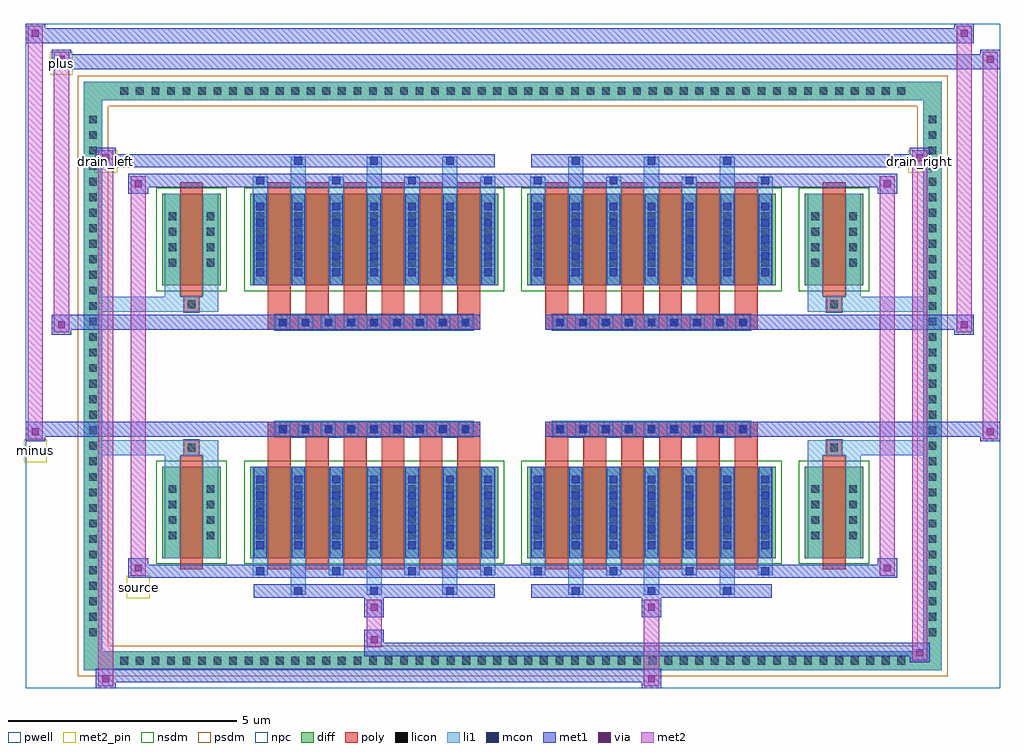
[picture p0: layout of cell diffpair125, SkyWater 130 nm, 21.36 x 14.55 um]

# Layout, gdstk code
import gdstk
lib = gdstk.Library(unit=1e-6, precision=5e-09)
def R(c, l, rs):  # rectangles x0, y0, x1, y1
    for r in rs: c.add(gdstk.rectangle(r[:2], r[2:], *l))
def A(c, l, x, y, w, h, nx, ny, dx, dy):  # array of equal rectangles
    R(c, l, [(x+i*dx, y+j*dy, x+i*dx+w, y+j*dy+h) for i in range(nx) for j in range(ny)])
def P(c, l, *ps):  # polygons
    for p in ps: c.add(gdstk.Polygon(p, *l))
pwell = (64, 44)
diff = (65, 20)
poly = (66, 20)
licon = (66, 44)
li1 = (67, 20)
mcon = (67, 44)
met1 = (68, 20)
via = (68, 44)
met2_pin = (69, 16)
met2 = (69, 20)
nsdm = (93, 44)
psdm = (94, 20)
npc = (95, 20)

diffpair125 = lib.new_cell('diffpair125')
R(diffpair125, pwell, [(-10.66,-6.84,10.66,7.71), (-7.98,-5.03,-0.01,-0.805), (0.01,-5.03,7.98,-0.805), (-7.98,0.805,-0.01,5.03), (0.01,0.805,7.98,5.03)])
A(diffpair125, diff, -8.705, -6.44, 0.41, 0.41, 51, 2, 0.34, 12.47)
A(diffpair125, diff, -9.39, -5.815, 0.41, 0.41, 1, 34, 0, 0.34)
A(diffpair125, diff, 8.98, -5.815, 0.41, 0.41, 1, 34, 0, 0.34)
R(diffpair125, diff, [(-8.705,-6.44,8.705,-6.03), (-9.39,-5.815,-8.98,5.815), (8.98,-5.815,9.39,5.815), (-7.67,-3.985,-6.39,-1.985), (-5.75,-3.985,-0.32,-1.985), (0.32,-3.985,5.75,-1.985), (6.39,-3.985,7.67,-1.985), (-7.67,1.985,-6.39,3.985), (-5.75,1.985,-0.32,3.985), (0.32,1.985,5.75,3.985), (6.39,1.985,7.67,3.985), (-8.705,6.03,8.705,6.44)])
P(diffpair125, diff, [(9.39,6.44),(-9.39,6.44),(-9.39,-6.03),(-8.98,-6.03),(-8.98,6.03),(8.98,6.03),(8.98,-6.03),(-8.98,-6.03),(-9.39,-6.03),(-9.39,-6.44),(9.39,-6.44)])
A(diffpair125, poly, -5.36, -4.235, 0.5, 2.5, 6, 2, 0.83, 5.97)
A(diffpair125, poly, 0.71, -4.235, 0.5, 2.5, 6, 2, 0.83, 5.97)
A(diffpair125, poly, -5.36, -1.735, 0.5, 0.4, 6, 2, 0.83, 3.07)
A(diffpair125, poly, 0.71, -1.735, 0.5, 0.4, 6, 2, 0.83, 3.07)
A(diffpair125, poly, -5.2, -1.335, 0.33, 0.33, 9, 2, 0.5, 2.34)
A(diffpair125, poly, 0.87, -1.335, 0.33, 0.33, 9, 2, 0.5, 2.34)
R(diffpair125, poly, [(-7.28,-4.235,-6.78,-1.735), (6.78,-4.235,7.28,-1.735), (-7.195,-1.735,-6.865,-1.405), (-7.195,-1.735,-6.865,-1.405), (6.865,-1.735,7.195,-1.405), (6.865,-1.735,7.195,-1.405), (-5.36,-1.335,-0.71,-1.005), (0.71,-1.335,5.36,-1.005), (-5.36,1.005,-0.71,1.335), (0.71,1.005,5.36,1.335), (-7.195,1.405,-6.865,1.735), (-7.195,1.405,-6.865,1.735), (6.865,1.405,7.195,1.735), (6.865,1.405,7.195,1.735), (-7.28,1.735,-6.78,4.235), (6.78,1.735,7.28,4.235)])
A(diffpair125, licon, -8.585, -6.32, 0.17, 0.17, 51, 2, 0.34, 12.47)
A(diffpair125, licon, -9.27, -5.695, 0.17, 0.17, 1, 34, 0, 0.34)
A(diffpair125, licon, 9.1, -5.695, 0.17, 0.17, 1, 34, 0, 0.34)
A(diffpair125, licon, -7.53, -3.58, 0.17, 0.17, 1, 4, 0, 0.34)
A(diffpair125, licon, -6.7, -3.58, 0.17, 0.17, 1, 4, 0, 0.34)
A(diffpair125, licon, -5.61, -3.58, 0.17, 0.17, 7, 4, 0.83, 0.34)
A(diffpair125, licon, 0.46, -3.58, 0.17, 0.17, 7, 4, 0.83, 0.34)
A(diffpair125, licon, 6.53, -3.58, 0.17, 0.17, 1, 4, 0, 0.34)
A(diffpair125, licon, 7.36, -3.58, 0.17, 0.17, 1, 4, 0, 0.34)
A(diffpair125, licon, -5.12, -1.255, 0.17, 0.17, 9, 2, 0.5, 2.34)
A(diffpair125, licon, 0.95, -1.255, 0.17, 0.17, 9, 2, 0.5, 2.34)
A(diffpair125, licon, -7.53, 2.39, 0.17, 0.17, 1, 4, 0, 0.34)
A(diffpair125, licon, -6.7, 2.39, 0.17, 0.17, 1, 4, 0, 0.34)
A(diffpair125, licon, -5.61, 2.39, 0.17, 0.17, 7, 4, 0.83, 0.34)
A(diffpair125, licon, 0.46, 2.39, 0.17, 0.17, 7, 4, 0.83, 0.34)
A(diffpair125, licon, 6.53, 2.39, 0.17, 0.17, 1, 4, 0, 0.34)
A(diffpair125, licon, 7.36, 2.39, 0.17, 0.17, 1, 4, 0, 0.34)
R(diffpair125, licon, [(-7.115,-1.655,-6.945,-1.485), (6.945,-1.655,7.115,-1.485), (-7.115,1.485,-6.945,1.655), (6.945,1.485,7.115,1.655)])
A(diffpair125, li1, -8.665, -6.4, 0.33, 0.33, 51, 2, 0.34, 12.47)
A(diffpair125, li1, -9.35, -5.775, 0.33, 0.33, 1, 34, 0, 0.34)
A(diffpair125, li1, 9.02, -5.775, 0.33, 0.33, 1, 34, 0, 0.34)
A(diffpair125, li1, -4.86, -4.79, 0.33, 0.805, 3, 2, 1.66, 8.775)
A(diffpair125, li1, -4.78, -4.79, 0.17, 0.17, 3, 2, 1.66, 9.41)
A(diffpair125, li1, 1.21, -4.79, 0.33, 0.805, 3, 2, 1.66, 8.775)
A(diffpair125, li1, 1.29, -4.79, 0.17, 0.17, 3, 2, 1.66, 9.41)
A(diffpair125, li1, -5.69, -4.36, 0.33, 0.375, 4, 2, 1.66, 8.345)
A(diffpair125, li1, -5.61, -4.36, 0.17, 0.17, 4, 2, 1.66, 8.55)
A(diffpair125, li1, 0.38, -4.36, 0.33, 0.375, 4, 2, 1.66, 8.345)
A(diffpair125, li1, 0.46, -4.36, 0.17, 0.17, 4, 2, 1.66, 8.55)
A(diffpair125, li1, -5.69, -3.985, 0.33, 2, 7, 2, 0.83, 5.97)
A(diffpair125, li1, 0.38, -3.985, 0.33, 2, 7, 2, 0.83, 5.97)
A(diffpair125, li1, -5.61, -3.79, 0.17, 0.17, 7, 5, 0.83, 0.36)
A(diffpair125, li1, -5.61, -3.79, 0.17, 1.61, 7, 2, 0.83, 5.97)
A(diffpair125, li1, 0.46, -3.79, 0.17, 0.17, 7, 5, 0.83, 0.36)
A(diffpair125, li1, 0.46, -3.79, 0.17, 1.61, 7, 2, 0.83, 5.97)
A(diffpair125, li1, -7.61, -3.66, 0.33, 0.33, 1, 4, 0, 0.34)
A(diffpair125, li1, -6.78, -3.66, 0.33, 0.33, 1, 4, 0, 0.34)
A(diffpair125, li1, -5.69, -3.66, 0.33, 0.33, 7, 4, 0.83, 0.34)
A(diffpair125, li1, 0.38, -3.66, 0.33, 0.33, 7, 4, 0.83, 0.34)
A(diffpair125, li1, 6.45, -3.66, 0.33, 0.33, 1, 4, 0, 0.34)
A(diffpair125, li1, 7.28, -3.66, 0.33, 0.33, 1, 4, 0, 0.34)
A(diffpair125, li1, -5.2, -1.335, 0.33, 0.33, 9, 2, 0.5, 2.34)
A(diffpair125, li1, 0.87, -1.335, 0.33, 0.33, 9, 2, 0.5, 2.34)
A(diffpair125, li1, -5.61, 2.18, 0.17, 0.17, 7, 5, 0.83, 0.36)
A(diffpair125, li1, 0.46, 2.18, 0.17, 0.17, 7, 5, 0.83, 0.36)
A(diffpair125, li1, -7.61, 2.31, 0.33, 0.33, 1, 4, 0, 0.34)
A(diffpair125, li1, -6.78, 2.31, 0.33, 0.33, 1, 4, 0, 0.34)
A(diffpair125, li1, -5.69, 2.31, 0.33, 0.33, 7, 4, 0.83, 0.34)
A(diffpair125, li1, 0.38, 2.31, 0.33, 0.33, 7, 4, 0.83, 0.34)
A(diffpair125, li1, 6.45, 2.31, 0.33, 0.33, 1, 4, 0, 0.34)
A(diffpair125, li1, 7.28, 2.31, 0.33, 0.33, 1, 4, 0, 0.34)
R(diffpair125, li1, [(-9.39,-6.44,-8.98,-6.03), (-9.39,-6.44,-8.98,-6.03), (-8.98,-6.44,8.98,-6.03), (8.98,-6.44,9.39,-6.03), (8.98,-6.44,9.39,-6.03), (-9.39,-6.03,-8.98,6.03), (8.98,-6.03,9.39,6.03), (-7.61,-3.985,-7.28,-1.985), (-6.78,-3.985,-6.45,-1.985), (6.45,-3.985,6.78,-1.985), (7.28,-3.985,7.61,-1.985), (-7.61,-1.985,-7.28,-1.405), (-6.78,-1.985,-6.45,-1.405), (6.45,-1.985,6.78,-1.405), (7.28,-1.985,7.61,-1.405), (-9.39,-1.735,-7.195,-1.405), (-7.61,-1.735,-7.195,-1.405), (-7.195,-1.735,-6.865,-1.405), (-6.865,-1.735,-6.45,-1.405), (6.45,-1.735,6.865,-1.405), (6.865,-1.735,7.195,-1.405), (6.865,-1.735,9.39,-1.405), (7.195,-1.735,7.61,-1.405), (-9.39,1.405,-7.195,1.735), (-7.61,1.405,-7.195,1.735), (-7.61,1.405,-7.28,1.985), (-7.195,1.405,-6.865,1.735), (-6.865,1.405,-6.45,1.735), (-6.78,1.405,-6.45,1.985), (6.45,1.405,6.865,1.735), (6.45,1.405,6.78,1.985), (6.865,1.405,7.195,1.735), (6.865,1.405,9.39,1.735), (7.195,1.405,7.61,1.735), (7.28,1.405,7.61,1.985), (-7.61,1.985,-7.28,3.985), (-6.78,1.985,-6.45,3.985), (6.45,1.985,6.78,3.985), (7.28,1.985,7.61,3.985), (-9.39,6.03,-8.98,6.44), (-9.39,6.03,-8.98,6.44), (-8.98,6.03,8.98,6.44), (8.98,6.03,9.39,6.44), (8.98,6.03,9.39,6.44)])
A(diffpair125, mcon, -4.78, -4.79, 0.17, 0.17, 3, 2, 1.66, 9.41)
A(diffpair125, mcon, 1.29, -4.79, 0.17, 0.17, 3, 2, 1.66, 9.41)
A(diffpair125, mcon, -5.61, -4.36, 0.17, 0.17, 4, 2, 1.66, 8.55)
A(diffpair125, mcon, 0.46, -4.36, 0.17, 0.17, 4, 2, 1.66, 8.55)
A(diffpair125, mcon, -5.61, -3.79, 0.17, 0.17, 7, 5, 0.83, 0.36)
A(diffpair125, mcon, 0.46, -3.79, 0.17, 0.17, 7, 5, 0.83, 0.36)
A(diffpair125, mcon, -5.12, -1.255, 0.17, 0.17, 9, 2, 0.5, 2.34)
A(diffpair125, mcon, 0.95, -1.255, 0.17, 0.17, 9, 2, 0.5, 2.34)
A(diffpair125, mcon, -5.61, 2.18, 0.17, 0.17, 7, 5, 0.83, 0.36)
A(diffpair125, mcon, 0.46, 2.18, 0.17, 0.17, 7, 5, 0.83, 0.36)
A(diffpair125, met1, -4.84, -4.85, 0.29, 0.29, 3, 2, 1.66, 9.41)
A(diffpair125, met1, 1.23, -4.85, 0.29, 0.29, 3, 2, 1.66, 9.41)
A(diffpair125, met1, -5.67, -4.42, 0.29, 0.29, 4, 2, 1.66, 8.55)
A(diffpair125, met1, 0.4, -4.42, 0.29, 0.29, 4, 2, 1.66, 8.55)
A(diffpair125, met1, -5.67, -3.985, 0.29, 2, 7, 2, 0.83, 5.97)
A(diffpair125, met1, 0.4, -3.985, 0.29, 2, 7, 2, 0.83, 5.97)
A(diffpair125, met1, -5.67, -3.85, 0.29, 0.29, 7, 5, 0.83, 0.36)
A(diffpair125, met1, 0.4, -3.85, 0.29, 0.29, 7, 5, 0.83, 0.36)
A(diffpair125, met1, -5.18, -1.315, 0.29, 0.29, 9, 2, 0.5, 2.34)
A(diffpair125, met1, 0.89, -1.315, 0.29, 0.29, 9, 2, 0.5, 2.34)
A(diffpair125, met1, -5.67, 2.12, 0.29, 0.29, 7, 5, 0.83, 0.36)
A(diffpair125, met1, 0.4, 2.12, 0.29, 0.29, 7, 5, 0.83, 0.36)
R(diffpair125, met1, [(-9.12,-6.84,-8.69,-6.41), (2.82,-6.84,3.25,-6.41), (-9.12,-6.7,3.25,-6.41), (8.69,-6.27,9.12,-5.84), (-3.25,-6.13,9.12,-5.84), (-3.25,-5.99,-2.82,-5.56), (-3.25,-5.28,-2.82,-4.85), (2.82,-5.28,3.25,-4.85), (-5.67,-4.85,-0.4,-4.56), (0.4,-4.85,5.67,-4.56), (-8.41,-4.42,-7.98,-3.99), (-8.41,-4.42,-5.67,-4.13), (-5.67,-4.42,-0.4,-4.13), (-0.4,-4.42,0.4,-4.13), (0.4,-4.42,5.67,-4.13), (5.67,-4.42,8.41,-4.13), (7.98,-4.42,8.41,-3.99), (-10.66,-1.435,-10.23,-1.005), (10.23,-1.435,10.66,-1.005), (-10.66,-1.335,-0.71,-1.005), (-5.36,-1.335,-0.71,-1.005), (0.71,-1.335,5.36,-1.005), (0.71,-1.335,10.66,-1.005), (-10.09,0.905,-9.66,1.335), (9.66,0.905,10.09,1.335), (-10.09,1.005,-5.36,1.335), (-5.36,1.005,-0.71,1.335), (0.71,1.005,5.36,1.335), (5.36,1.005,10.09,1.335), (-8.41,3.99,-7.98,4.42), (7.98,3.99,8.41,4.42), (-8.41,4.13,-5.67,4.42), (-5.67,4.13,-0.4,4.42), (-0.4,4.13,0.4,4.42), (0.4,4.13,5.67,4.42), (5.67,4.13,8.41,4.42), (-9.12,4.56,-8.69,4.99), (-9.12,4.56,-5.67,4.85), (-5.67,4.56,-0.4,4.85), (0.4,4.56,5.67,4.85), (5.67,4.56,9.12,4.85), (8.69,4.56,9.12,4.99), (-10.09,6.71,-9.66,7.14), (-10.09,6.71,-7.98,7.04), (-7.98,6.71,7.98,7.04), (7.98,6.71,10.66,7.04), (10.23,6.71,10.66,7.14), (-10.66,7.28,-10.23,7.71), (-10.66,7.28,-7.98,7.61), (-7.98,7.28,7.98,7.61), (7.98,7.28,10.09,7.61), (9.66,7.28,10.09,7.71)])
R(diffpair125, via, [(-8.98,-6.7,-8.83,-6.55), (2.96,-6.7,3.11,-6.55), (8.83,-6.13,8.98,-5.98), (-3.11,-5.85,-2.96,-5.7), (-3.11,-5.14,-2.96,-4.99), (2.96,-5.14,3.11,-4.99), (-8.27,-4.28,-8.12,-4.13), (8.12,-4.28,8.27,-4.13), (-10.52,-1.295,-10.37,-1.145), (10.37,-1.295,10.52,-1.145), (-9.95,1.045,-9.8,1.195), (9.8,1.045,9.95,1.195), (-8.27,4.13,-8.12,4.28), (8.12,4.13,8.27,4.28), (-8.98,4.7,-8.83,4.85), (8.83,4.7,8.98,4.85), (-9.95,6.85,-9.8,7), (10.37,6.85,10.52,7), (-10.52,7.42,-10.37,7.57), (9.8,7.42,9.95,7.57)])
R(diffpair125, met2_pin, [(-8.445,-4.87,-7.945,-4.37), (-10.695,-1.885,-10.195,-1.385), (-9.155,4.44,-8.655,4.94), (8.655,4.44,9.155,4.94), (-10.125,6.59,-9.625,7.09)])
R(diffpair125, met2, [(-9.07,-6.79,-8.74,-6.46), (-9.07,-6.79,-8.74,4.94), (2.87,-6.79,3.2,-6.46), (2.87,-6.46,3.2,-5.23), (8.74,-6.22,9.07,-5.89), (8.74,-6.22,9.07,4.94), (-3.2,-5.94,-2.87,-5.61), (-3.2,-5.61,-2.87,-5.23), (-3.2,-5.23,-2.87,-4.9), (2.87,-5.23,3.2,-4.9), (-8.36,-4.37,-8.03,-4.04), (-8.36,-4.37,-8.03,4.37), (8.03,-4.37,8.36,-4.04), (8.03,-4.37,8.36,4.37), (-10.61,-1.385,-10.28,-1.055), (-10.61,-1.385,-10.28,7.66), (10.28,-1.385,10.61,-1.055), (10.28,-1.385,10.61,7.09), (-10.04,0.955,-9.71,1.285), (-10.04,0.955,-9.71,7.09), (9.71,0.955,10.04,1.285), (9.71,0.955,10.04,7.66), (-8.36,4.04,-8.03,4.37), (8.03,4.04,8.36,4.37), (-9.07,4.61,-8.74,4.94), (8.74,4.61,9.07,4.94), (-10.04,6.76,-9.71,7.09), (10.28,6.76,10.61,7.09), (-10.61,7.33,-10.28,7.66), (9.71,7.33,10.04,7.66)])
P(diffpair125, met2, [(10.61,-1.385),(10.61,-1.385),(10.61,-1.055),(10.61,-1.055)],
  [(10.61,6.76),(10.61,6.76),(10.61,7.09),(10.61,7.09)],
  [(-10.28,-1.385),(-10.28,-1.385),(-10.28,-1.055),(-10.28,-1.055)],
  [(-10.28,7.33),(-10.28,7.33),(-10.28,7.66),(-10.28,7.66)],
  [(10.04,0.955),(10.04,0.955),(10.04,1.285),(10.04,1.285)],
  [(10.04,7.33),(10.04,7.33),(10.04,7.66),(10.04,7.66)],
  [(-9.71,0.955),(-9.71,0.955),(-9.71,1.285),(-9.71,1.285)],
  [(-9.71,6.76),(-9.71,6.76),(-9.71,7.09),(-9.71,7.09)],
  [(-8.74,-6.79),(-8.74,-6.79),(-8.74,-6.46),(-8.74,-6.46)],
  [(-8.74,4.61),(-8.74,4.61),(-8.74,4.94),(-8.74,4.94)],
  [(9.07,-6.22),(9.07,-6.22),(9.07,-5.89),(9.07,-5.89)],
  [(9.07,4.61),(9.07,4.61),(9.07,4.94),(9.07,4.94)],
  [(-8.03,-4.37),(-8.03,-4.37),(-8.03,-4.04),(-8.03,-4.04)],
  [(-8.03,4.04),(-8.03,4.04),(-8.03,4.37),(-8.03,4.37)],
  [(8.36,-4.37),(8.36,-4.37),(8.36,-4.04),(8.36,-4.04)],
  [(8.36,4.04),(8.36,4.04),(8.36,4.37),(8.36,4.37)])
R(diffpair125, nsdm, [(-7.8,-4.115,-6.26,-1.855), (-5.88,-4.115,-0.19,-1.855), (0.19,-4.115,5.88,-1.855), (6.26,-4.115,7.8,-1.855), (-7.8,1.855,-6.26,4.115), (-5.88,1.855,-0.19,4.115), (0.19,1.855,5.88,4.115), (6.26,1.855,7.8,4.115)])
P(diffpair125, psdm, [(9.52,6.57),(-9.52,6.57),(-9.52,-5.9),(-8.85,-5.9),(-8.85,5.9),(8.85,5.9),(8.85,-5.9),(-8.85,-5.9),(-9.52,-5.9),(-9.52,-6.57),(9.52,-6.57)])
A(diffpair125, npc, -5.22, -1.355, 0.37, 0.37, 9, 2, 0.5, 2.34)
A(diffpair125, npc, 0.85, -1.355, 0.37, 0.37, 9, 2, 0.5, 2.34)
R(diffpair125, npc, [(-7.215,-1.755,-6.845,-1.385), (6.845,-1.755,7.215,-1.385), (-5.22,-1.355,-4.35,-0.985), (-5.22,-1.355,-4.35,-0.985), (-4.72,-1.355,-3.85,-0.985), (-4.72,-1.355,-3.85,-0.985), (-4.22,-1.355,-3.35,-0.985), (-4.22,-1.355,-3.35,-0.985), (-3.72,-1.355,-2.85,-0.985), (-3.72,-1.355,-2.85,-0.985), (-3.22,-1.355,-2.35,-0.985), (-3.22,-1.355,-2.35,-0.985), (-2.72,-1.355,-1.85,-0.985), (-2.72,-1.355,-1.85,-0.985), (-2.22,-1.355,-1.35,-0.985), (-2.22,-1.355,-1.35,-0.985), (-1.72,-1.355,-0.85,-0.985), (-1.72,-1.355,-0.85,-0.985), (0.85,-1.355,1.72,-0.985), (0.85,-1.355,1.72,-0.985), (1.35,-1.355,2.22,-0.985), (1.35,-1.355,2.22,-0.985), (1.85,-1.355,2.72,-0.985), (1.85,-1.355,2.72,-0.985), (2.35,-1.355,3.22,-0.985), (2.35,-1.355,3.22,-0.985), (2.85,-1.355,3.72,-0.985), (2.85,-1.355,3.72,-0.985), (3.35,-1.355,4.22,-0.985), (3.35,-1.355,4.22,-0.985), (3.85,-1.355,4.72,-0.985), (3.85,-1.355,4.72,-0.985), (4.35,-1.355,5.22,-0.985), (4.35,-1.355,5.22,-0.985), (-5.22,0.985,-4.35,1.355), (-5.22,0.985,-4.35,1.355), (-4.72,0.985,-3.85,1.355), (-4.72,0.985,-3.85,1.355), (-4.22,0.985,-3.35,1.355), (-4.22,0.985,-3.35,1.355), (-3.72,0.985,-2.85,1.355), (-3.72,0.985,-2.85,1.355), (-3.22,0.985,-2.35,1.355), (-3.22,0.985,-2.35,1.355), (-2.72,0.985,-1.85,1.355), (-2.72,0.985,-1.85,1.355), (-2.22,0.985,-1.35,1.355), (-2.22,0.985,-1.35,1.355), (-1.72,0.985,-0.85,1.355), (-1.72,0.985,-0.85,1.355), (0.85,0.985,1.72,1.355), (0.85,0.985,1.72,1.355), (1.35,0.985,2.22,1.355), (1.35,0.985,2.22,1.355), (1.85,0.985,2.72,1.355), (1.85,0.985,2.72,1.355), (2.35,0.985,3.22,1.355), (2.35,0.985,3.22,1.355), (2.85,0.985,3.72,1.355), (2.85,0.985,3.72,1.355), (3.35,0.985,4.22,1.355), (3.35,0.985,4.22,1.355), (3.85,0.985,4.72,1.355), (3.85,0.985,4.72,1.355), (4.35,0.985,5.22,1.355), (4.35,0.985,5.22,1.355), (-7.215,1.385,-6.845,1.755), (6.845,1.385,7.215,1.755)])
diffpair125.add(gdstk.Label('minus', (-10.445,-1.635), layer=69, texttype=5))
diffpair125.add(gdstk.Label('drain_right', (8.905,4.69), layer=69, texttype=5))
diffpair125.add(gdstk.Label('drain_left', (-8.905,4.69), layer=69, texttype=5))
diffpair125.add(gdstk.Label('source', (-8.195,-4.62), layer=69, texttype=5))
diffpair125.add(gdstk.Label('plus', (-9.875,6.84), layer=69, texttype=5))

lib.write_gds('diffpair125.gds')
